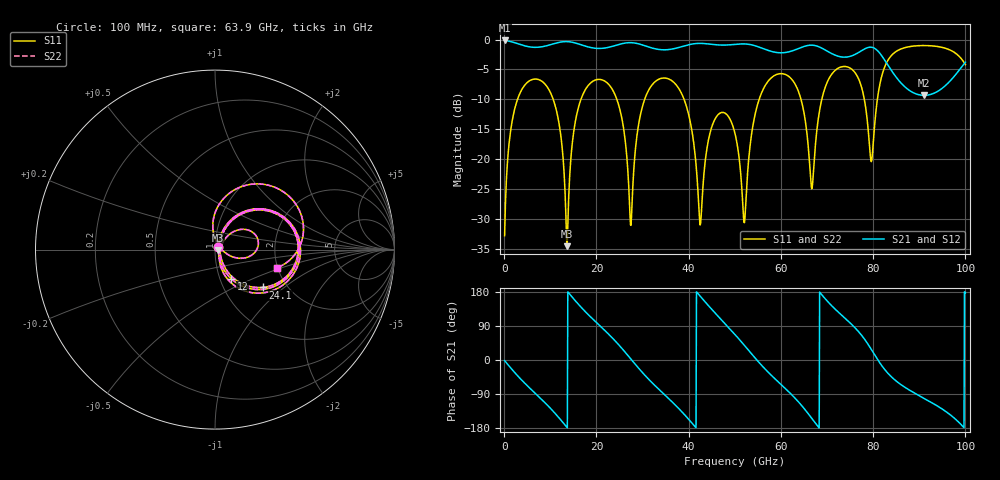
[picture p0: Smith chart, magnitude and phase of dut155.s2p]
! Touchstone file exported from HFSS 2026.1.0
!  File:  C:/ffzhzh/LocalFiles/Ansys_Project_Files/temp_train_TSV_RDL_155_1783645967_33328.aedt
!  Generated:  09:43:48 AM Jul 10, 2026
!  Design:  TSV_RDL
!  Project:  temp_train_TSV_RDL_155_1783645967_33328
! Variables:
!  h_bsmrdl = 2.11um
!  h_ox = 20um
!  h_rdl = 5um
!  h_sub = 82.96um
!  h_tmrdl = 4um
!  h_tsv = 82.96um
!  h_via = 3um
!  l_bsmrdl = 617.4um
!  l_sub = 4383.03um
!  l_tmrdl = 488.87um
!  m_sub = 200um
!  pitch = 54.39um
!  r_tsv = 10.07um
!  s_tmrdl = 10um
!  w_bsmrdl = 28.99um
!  w_sub = 500um
!  w_tmrdl = 29.46um
!  x_tsv_center1 = 503.6um
!  x_tsv_center2 = 1149.99um
!  x_tsv_center3 = 1668.32um
!  x_tsv_center4 = 2314.71um
!  x_tsv_center5 = 2833.04um
!  x_tsv_center6 = 3479.43um
# GHz S MA R 50.000000
! Terminal data exported
! Port[1] = TM_RDL1_1_T1
! Port[2] = TM_RDL5_1_T1
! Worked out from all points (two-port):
!   1000 points, 100 MHz to 100 GHz, reference 50 ohm
!   highest |S21| = -0.16 dB at 100 MHz (marker M1); lowest = -9.3 dB at 91.1 GHz (marker M2)
!   |S21| within 3 dB of the highest: start of sweep to 82.26 GHz
!   lowest |S11| = -34.6 dB at 13.6 GHz (marker M3), VSWR 1.04, Z = 51.9 - j0.259 ohm
!   |S11| at or under -10 dB: 10.63 GHz to 16.66 GHz (6.028 GHz wide, 44.2 % of centre); 24.43 GHz to 30.47 GHz (6.042 GHz wide, 22 % of centre); 39 GHz to 55.29 GHz (16.29 GHz wide, 34.6 % of centre) (the widest 3 of 6)
!   |S22| runs from -34.5 to -1.0 dB; largest |S21 - S12| = 6e-14
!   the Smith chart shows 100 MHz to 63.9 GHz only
!   S11 on the Smith chart (normalised r, x): 100 MHz: 1.04, +0.03; 12 GHz: 1.13, -0.38; 24.1 GHz: 1.52, -0.73; 63.9 GHz: 1.98, -0.46
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0.1  0.02287 36.3  0.9819 -1.6  0.9819 -1.6  0.02287 36.3
! Gamma 0 0 0 0
! Port Impedance 50 0 50 0
4  0.3912 31.1  0.8955 -55.5  0.8955 -55.5  0.3912 31.1
12  0.1879 -60.8  0.9479 -154.1  0.9479 -154.1  0.1879 -60.7
13.6  0.01869 -7.7  0.9603 -177.4  0.9603 -177.4  0.01881 -7.6
16.8  0.3272 43.9  0.9005 137.8  0.9005 137.8  0.3272 43.9
24.1  0.3408 -38.2  0.8908 50.0  0.8908 50.0  0.3408 -38.1
27.5  0.02791 12.1  0.9408 2.2  0.9408 2.2  0.02822 12.0
29.6  0.2398 55.2  0.9097 -27.9  0.9097 -27.9  0.2398 55.1
33.4  0.4627 12.5  0.8272 -75.7  0.8272 -75.7  0.4627 12.5
39.1  0.3089 -50.5  0.8855 -144.1  0.8855 -144.1  0.3089 -50.6
41.9  0.06351 -66.8  0.9271 176.9  0.9271 176.9  0.06329 -67.3
50.1  0.1602 -17.6  0.9111 66.7  0.9111 66.7  0.1603 -17.4
52.1  0.02936 43.1  0.9183 38.4  0.9183 38.4  0.02974 43.0
55.2  0.3084 77.9  0.8663 -5.8  0.8663 -5.8  0.3083 77.8
63.9  0.3595 -16.3  0.8434 -111.8  0.8434 -111.8  0.3594 -16.4
66.7  0.05644 24.6  0.8971 -154.0  0.8971 -154.0  0.05603 24.6
70.1  0.4442 58.9  0.7972 154.8  0.7972 154.8  0.4442 58.9
76.5  0.4981 -6.2  0.7653 79.4  0.7653 79.4  0.4981 -6.2
79.6  0.09523 24.5  0.8621 28.0  0.8621 28.0  0.09419 24.4
83.4  0.689 45.4  0.5944 -37.6  0.5944 -37.6  0.6889 45.5
91.1  0.8902 -11.9  0.3412 -101.6  0.3412 -101.6  0.8901 -11.8
100  0.6169 -85.5  0.6465 177.1  0.6465 177.1  0.6168 -85.4
